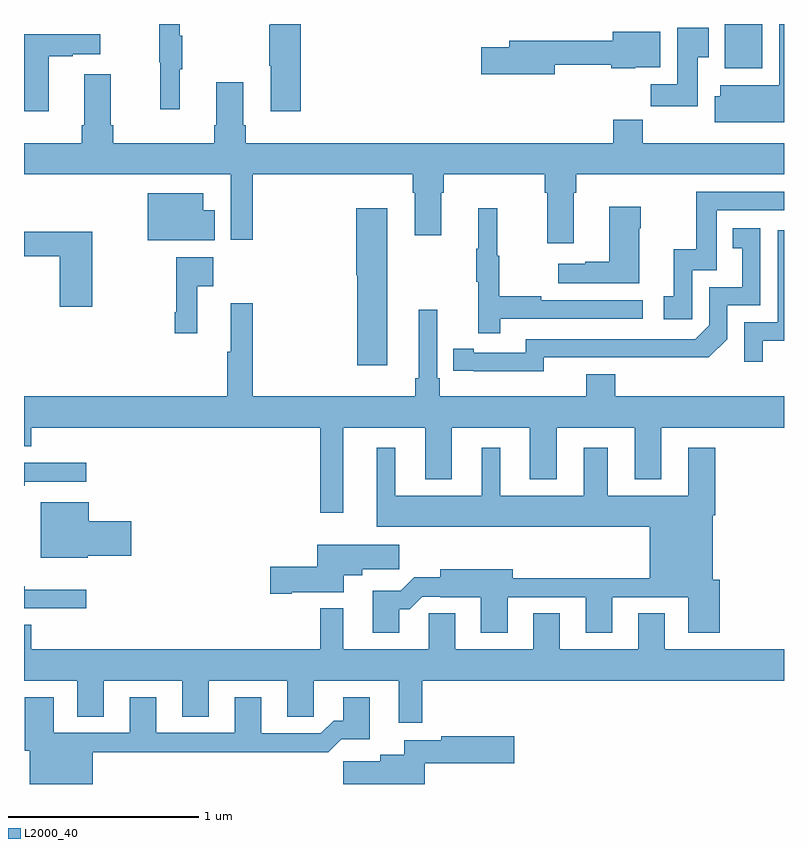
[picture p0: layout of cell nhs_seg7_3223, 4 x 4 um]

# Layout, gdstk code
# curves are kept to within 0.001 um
import gdstk
lib = gdstk.Library(unit=1e-6, precision=1e-09)
def R(c, l, rs):  # rectangles x0, y0, x1, y1
    for r in rs: c.add(gdstk.rectangle(r[:2], r[2:], *l))
def P(c, l, *ps):  # polygons
    for p in ps: c.add(gdstk.Polygon(p, *l))
L2000_40 = (2000, 40)

nhs_seg7_3223 = lib.new_cell('nhs_seg7_3223')
R(nhs_seg7_3223, L2000_40, [(318.689,1075.766,318.886,1076)])
P(nhs_seg7_3223, L2000_40, [(316.457,1076),(316.298,1076),(316.298,1075.997),(316.291,1075.997),(316.291,1075.78),(316.298,1075.78),(316.298,1075.542),(316.457,1075.542)],
  [(315.821,1075.763),(315.832,1075.763),(315.832,1075.937),(315.821,1075.937),(315.821,1076),(315.711,1076),(315.711,1075.8),(315.718,1075.8),(315.718,1075.551),(315.821,1075.551)],
  [(319,1076),(318.974,1076),(318.974,1075.678),(318.665,1075.678),(318.665,1075.619),(318.635,1075.619),(318.635,1075.484),(319,1075.484)],
  [(318.547,1075.825),(318.604,1075.825),(318.604,1075.981),(318.437,1075.981),(318.437,1075.684),(318.298,1075.684),(318.298,1075.566),(318.547,1075.566)],
  [(317.794,1075.785),(318.091,1075.785),(318.091,1075.766),(318.216,1075.766),(318.216,1075.772),(318.349,1075.772),(318.349,1075.96),(318.098,1075.96),(318.098,1075.913),(317.555,1075.913),(317.555,1075.877),(317.406,1075.877),(317.406,1075.735),(317.794,1075.735)],
  [(315.13,1075.831),(315.257,1075.831),(315.257,1075.841),(315.4,1075.841),(315.4,1075.945),(315,1075.945),(315,1075.542),(315.13,1075.542)],
  [(316.166,1075.468),(316.153,1075.468),(316.153,1075.693),(316.013,1075.693),(316.013,1075.468),(316.001,1075.468),(316.001,1075.372),(315.47,1075.372),(315.47,1075.468),(315.457,1075.468),(315.457,1075.735),(315.317,1075.735),(315.317,1075.468),(315.305,1075.468),(315.305,1075.372),(315,1075.372),(315,1075.208),(316.089,1075.208),(316.089,1074.864),(316.205,1074.864),(316.205,1075.208),(317.045,1075.208),(317.045,1075.112),(317.057,1075.112),(317.057,1074.888),(317.197,1074.888),(317.197,1075.112),(317.21,1075.112),(317.21,1075.208),(317.741,1075.208),(317.741,1075.112),(317.753,1075.112),(317.753,1074.846),(317.893,1074.846),(317.893,1075.112),(317.906,1075.112),(317.906,1075.208),(319,1075.208),(319,1075.372),(318.257,1075.372),(318.257,1075.496),(318.101,1075.496),(318.101,1075.372),(316.166,1075.372)],
  [(318.516,1074.705),(318.645,1074.705),(318.645,1075.02),(319,1075.02),(319,1075.116),(318.537,1075.116),(318.537,1074.814),(318.419,1074.814),(318.419,1074.567),(318.366,1074.567),(318.366,1074.447),(318.516,1074.447)],
  [(316.004,1075.021),(315.943,1075.021),(315.943,1075.108),(315.65,1075.108),(315.65,1074.863),(316.004,1074.863)],
  [(318.238,1074.926),(318.246,1074.926),(318.246,1075.039),(318.08,1075.039),(318.08,1074.749),(317.954,1074.749),(317.954,1074.739),(317.811,1074.739),(317.811,1074.635),(318.238,1074.635)],
  [(316.912,1075.03),(316.748,1075.03),(316.748,1074.678),(316.754,1074.678),(316.754,1074.204),(316.912,1074.204)],
  [(317.507,1074.45),(318.256,1074.45),(318.256,1074.546),(317.723,1074.546),(317.723,1074.566),(317.5,1074.566),(317.5,1074.78),(317.492,1074.78),(317.492,1075.03),(317.39,1075.03),(317.39,1074.817),(317.379,1074.817),(317.379,1074.643),(317.39,1074.643),(317.39,1074.372),(317.507,1074.372)],
  [(317.736,1074.246),(318.604,1074.245),(318.702,1074.342),(318.702,1074.519),(318.876,1074.519),(318.876,1074.925),(318.73,1074.925),(318.73,1074.819),(318.779,1074.819),(318.779,1074.615),(318.606,1074.615),(318.606,1074.414),(318.534,1074.342),(317.64,1074.342),(317.64,1074.27),(317.368,1074.27),(317.368,1074.29),(317.26,1074.29),(317.26,1074.174),(317.736,1074.173)],
  [(318.889,1074.333),(319,1074.333),(319,1074.915),(318.966,1074.915),(318.966,1074.429),(318.792,1074.429),(318.792,1074.222),(318.889,1074.222)],
  [(315.36,1074.907),(315,1074.907),(315,1074.778),(315.187,1074.778),(315.187,1074.513),(315.36,1074.513)],
  [(315.911,1074.62),(315.997,1074.62),(315.997,1074.772),(315.801,1074.772),(315.801,1074.484),(315.793,1074.484),(315.793,1074.372),(315.911,1074.372)],
  [(316.681,1073.876),(317.111,1073.876),(317.111,1073.603),(317.251,1073.603),(317.251,1073.876),(317.663,1073.876),(317.663,1073.603),(317.803,1073.603),(317.803,1073.876),(318.215,1073.876),(318.215,1073.603),(318.355,1073.603),(318.355,1073.876),(319,1073.876),(319,1074.04),(318.113,1074.04),(318.113,1074.157),(317.96,1074.157),(317.96,1074.04),(317.189,1074.04),(317.189,1074.136),(317.175,1074.136),(317.175,1074.496),(317.078,1074.496),(317.078,1074.136),(317.059,1074.136),(317.059,1074.04),(316.205,1074.04),(316.205,1074.529),(316.088,1074.529),(316.088,1074.276),(316.069,1074.276),(316.069,1074.04),(315,1074.04),(315,1073.778),(315.038,1073.778),(315.038,1073.876),(316.56,1073.876),(316.56,1073.427),(316.681,1073.427)],
  [(316.975,1072.919),(317.03,1072.919),(317.097,1072.986),(317.191,1072.986),(317.191,1072.983),(317.405,1072.983),(317.405,1072.797),(317.545,1072.797),(317.545,1072.983),(317.957,1072.983),(317.957,1072.797),(318.097,1072.797),(318.097,1072.983),(318.497,1072.983),(318.497,1072.797),(318.662,1072.797),(318.662,1073.076),(318.625,1073.076),(318.625,1073.414),(318.638,1073.414),(318.638,1073.77),(318.497,1073.77),(318.497,1073.518),(318.073,1073.518),(318.073,1073.77),(317.945,1073.77),(317.945,1073.518),(317.506,1073.518),(317.506,1073.77),(317.408,1073.77),(317.408,1073.518),(316.954,1073.518),(316.954,1073.77),(316.856,1073.77),(316.856,1073.354),(318.293,1073.354),(318.293,1073.084),(317.572,1073.084),(317.572,1073.131),(317.192,1073.131),(317.192,1073.087),(317.054,1073.087),(316.984,1073.017),(316.835,1073.017),(316.835,1072.797),(316.975,1072.797)],
  [(315.004,1073.592),(315.328,1073.592),(315.328,1073.69),(315,1073.69),(315,1073.57),(315.004,1073.57)],
  [(315.336,1073.201),(315.565,1073.201),(315.565,1073.384),(315.34,1073.384),(315.34,1073.482),(315.089,1073.482),(315.089,1073.192),(315.336,1073.192)],
  [(316.408,1073.009),(316.684,1073.009),(316.684,1073.099),(316.78,1073.099),(316.78,1073.131),(316.975,1073.131),(316.975,1073.26),(316.544,1073.26),(316.544,1073.144),(316.296,1073.144),(316.296,1073.002),(316.408,1073.002)],
  [(315.328,1073.023),(315.004,1073.023),(315.004,1073.042),(315,1073.042),(315,1072.926),(315.328,1072.926)],
  [(317.095,1072.544),(319,1072.544),(319,1072.708),(318.373,1072.708),(318.373,1072.898),(318.233,1072.898),(318.233,1072.708),(317.821,1072.708),(317.821,1072.898),(317.681,1072.898),(317.681,1072.708),(317.269,1072.708),(317.269,1072.898),(317.13,1072.898),(317.13,1072.708),(316.681,1072.708),(316.681,1072.924),(316.56,1072.924),(316.56,1072.708),(315.037,1072.708),(315.037,1072.837),(315,1072.837),(315,1072.544),(315.281,1072.544),(315.281,1072.354),(315.421,1072.354),(315.421,1072.544),(315.833,1072.544),(315.833,1072.354),(315.973,1072.354),(315.973,1072.544),(316.385,1072.544),(316.385,1072.354),(316.524,1072.354),(316.524,1072.544),(316.973,1072.544),(316.973,1072.323),(317.095,1072.323)],
  [(315.361,1072.168),(316.345,1072.168),(316.345,1072.166),(316.601,1072.166),(316.67,1072.235),(316.819,1072.235),(316.819,1072.456),(316.679,1072.456),(316.679,1072.333),(316.63,1072.333),(316.563,1072.266),(316.249,1072.266),(316.249,1072.456),(316.109,1072.456),(316.109,1072.269),(315.697,1072.269),(315.697,1072.456),(315.557,1072.456),(315.557,1072.269),(315.157,1072.269),(315.157,1072.456),(315.005,1072.456),(315.005,1072.176),(315.029,1072.176),(315.029,1072),(315.361,1072)],
  [(317.11,1072.109),(317.581,1072.109),(317.581,1072.251),(317.196,1072.251),(317.196,1072.231),(317,1072.231),(317,1072.153),(316.874,1072.153),(316.874,1072.121),(316.68,1072.121),(316.68,1072),(317.11,1072)])

lib.write_gds('nhs_seg7_3223.gds')
